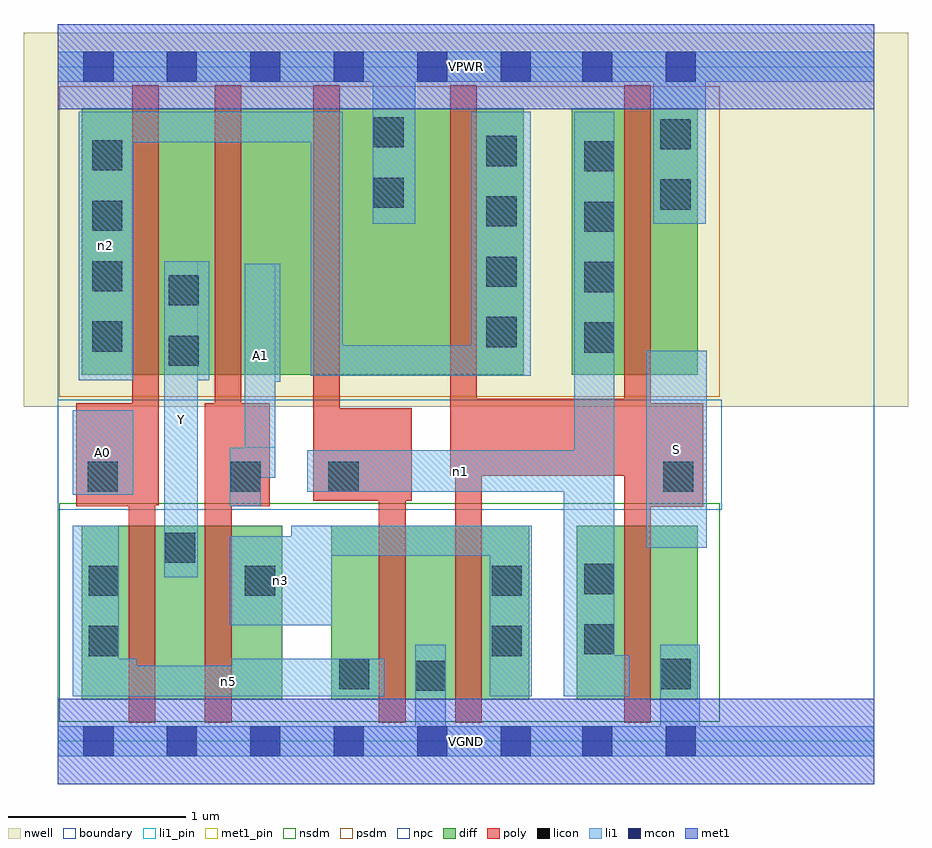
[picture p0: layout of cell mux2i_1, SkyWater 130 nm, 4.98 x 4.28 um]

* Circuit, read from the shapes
.subckt mux2i_1 A0 A1 S VGND VPWR Y n1 n2 n3 n5
XM1 Y A0 n5 VSUBS sky130_fd_pr__nfet_01v8 w=0.98 l=0.15
XM2 n3 A1 Y VSUBS sky130_fd_pr__nfet_01v8 w=0.98 l=0.15
XM3 VGND n1 n5 VSUBS sky130_fd_pr__nfet_01v8 w=0.98 l=0.15
XM4 n3 S VGND VSUBS sky130_fd_pr__nfet_01v8 w=0.98 l=0.15
XM5 VGND S n1 VSUBS sky130_fd_pr__nfet_01v8 w=0.98 l=0.15
XM6 Y A0 n2 n4 sky130_fd_pr__pfet_01v8 w=1.5 l=0.15
XM7 n6 A1 Y n4 sky130_fd_pr__pfet_01v8 w=1.5 l=0.15
XM8 VPWR n1 n6 n4 sky130_fd_pr__pfet_01v8 w=1.5 l=0.15
XM9 n2 S VPWR n4 sky130_fd_pr__pfet_01v8 w=1.5 l=0.15
XM10 VPWR S n1 n4 sky130_fd_pr__pfet_01v8 w=1.5 l=0.15
.ends

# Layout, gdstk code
import gdstk
lib = gdstk.Library(unit=1e-6, precision=1e-09)
def R(c, l, rs):  # rectangles x0, y0, x1, y1
    for r in rs: c.add(gdstk.rectangle(r[:2], r[2:], *l))
def A(c, l, x, y, w, h, nx, ny, dx, dy):  # array of equal rectangles
    R(c, l, [(x+i*dx, y+j*dy, x+i*dx+w, y+j*dy+h) for i in range(nx) for j in range(ny)])
nwell = (64, 20)
diff = (65, 20)
poly = (66, 20)
licon = (66, 44)
li1_pin = (67, 16)
li1 = (67, 20)
mcon = (67, 44)
met1_pin = (68, 16)
met1 = (68, 20)
nsdm = (93, 44)
psdm = (94, 20)
npc = (95, 20)
boundary = (235, 4)

mux2i_1 = lib.new_cell('mux2i_1')
R(mux2i_1, nwell, [(-0.19,1.885,4.79,3.99), (0,1.885,4.6,3.99)])
R(mux2i_1, diff, [(0.135,0.235,1.265,1.215), (1.54,0.235,2.655,1.215), (2.925,0.235,3.605,1.215), (0.135,2.065,2.625,3.565), (2.895,2.065,3.605,3.565)])
R(mux2i_1, poly, [(0.4,0.105,0.55,1.905), (0.83,0.105,0.98,1.905), (1.81,0.105,1.96,1.875), (2.24,0.105,2.39,1.93), (3.19,0.105,3.34,3.695), (3.19,1.32,3.635,1.905), (0.105,1.325,0.55,1.905), (0.83,1.325,1.195,1.905), (0.885,1.325,1.035,3.695), (0.42,1.33,0.57,3.695), (1.44,1.355,1.59,3.695), (1.44,1.355,1.995,1.875), (2.21,1.495,2.36,3.695), (2.21,1.495,3.34,1.93)])
A(mux2i_1, licon, 2.965, 2.19, 0.17, 0.17, 1, 4, 0, 0.34)
A(mux2i_1, licon, 0.195, 2.195, 0.17, 0.17, 1, 4, 0, 0.34)
A(mux2i_1, licon, 2.415, 2.22, 0.17, 0.17, 1, 4, 0, 0.34)
R(mux2i_1, licon, [(2.015,0.285,2.185,0.455), (1.585,0.295,1.755,0.465), (3.395,0.295,3.565,0.465), (0.175,0.48,0.345,0.65), (2.445,0.48,2.615,0.65), (2.965,0.49,3.135,0.66), (0.175,0.82,0.345,0.99), (1.055,0.82,1.225,0.99), (2.445,0.82,2.615,0.99), (2.965,0.83,3.135,1), (0.605,1.005,0.775,1.175), (0.17,1.405,0.34,1.575), (0.975,1.405,1.145,1.575), (1.525,1.405,1.695,1.575), (3.41,1.405,3.58,1.575), (0.625,2.115,0.795,2.285), (0.625,2.455,0.795,2.625), (3.395,2.995,3.565,3.165), (1.78,3.005,1.95,3.175), (3.395,3.335,3.565,3.505), (1.78,3.345,1.95,3.515)])
R(mux2i_1, li1_pin, [(0.6,0.925,0.79,2.705), (3.315,1.09,3.655,2.2), (0.085,1.39,0.425,1.865), (1.055,1.655,1.225,2.69)])
R(mux2i_1, li1, [(0,-0.085,4.6,0.085), (2.015,-0.085,2.185,0.545), (3.395,-0.085,3.615,0.545), (0.085,0.255,1.84,0.425), (0.085,0.255,0.345,1.215), (0.085,0.255,0.445,0.465), (0.98,0.255,1.84,0.465), (2.435,0.255,2.67,1.215), (2.85,0.255,3.135,1.64), (2.85,0.255,3.22,0.485), (2.91,0.255,3.135,3.545), (0.97,0.655,1.545,1.155), (0.6,0.925,0.79,2.705), (1.315,1.045,2.435,1.215), (3.315,1.09,3.655,2.2), (0.97,1.325,1.145,1.655), (0.085,1.39,0.425,1.865), (1.405,1.405,3.135,1.64), (1.145,1.485,1.225,2.69), (1.055,1.655,1.225,2.69), (1.055,2.025,1.255,2.69), (0.12,2.035,0.425,3.545), (0.6,2.035,0.855,2.705), (1.425,2.06,2.665,2.23), (1.425,2.06,1.605,3.545), (2.33,2.06,2.665,3.545), (1.775,2.915,2.015,3.885), (3.355,2.915,3.65,3.885), (0.12,3.375,1.605,3.545), (0,3.715,4.6,3.885)])
A(mux2i_1, mcon, 0.145, -0.085, 0.17, 0.17, 6, 2, 0.47, 3.8)
R(mux2i_1, mcon, [(2.955,-0.085,3.125,0.085), (3.425,-0.085,3.595,0.085), (2.955,3.715,3.125,3.885), (3.425,3.715,3.595,3.885)])
R(mux2i_1, met1_pin, [(0,-0.24,4.6,0.24), (0,3.56,4.6,4.04)])
R(mux2i_1, met1, [(0,-0.24,4.6,0.24), (0,3.56,4.6,4.04)])
R(mux2i_1, nsdm, [(0.01,0.11,3.73,1.34)])
R(mux2i_1, psdm, [(0.01,1.94,3.73,3.69)])
R(mux2i_1, npc, [(0,1.305,3.74,1.925)])
R(mux2i_1, boundary, [(0,0,4.6,3.8)])
mux2i_1.add(gdstk.Label('A0', (0.255,1.627), layer=67, texttype=5))
mux2i_1.add(gdstk.Label('A1', (1.14,2.172), layer=67, texttype=5))
mux2i_1.add(gdstk.Label('S', (3.485,1.645), layer=67, texttype=5))
mux2i_1.add(gdstk.Label('Y', (0.695,1.815), layer=67, texttype=5))
mux2i_1.add(gdstk.Label('n5', (0.962,0.34), layer=67, texttype=5))
mux2i_1.add(gdstk.Label('n3', (1.257,0.905), layer=67, texttype=5))
mux2i_1.add(gdstk.Label('n2', (0.272,2.79), layer=67, texttype=5))
mux2i_1.add(gdstk.Label('n1', (2.27,1.522), layer=67, texttype=5))
mux2i_1.add(gdstk.Label('VPWR', (2.3,3.8), layer=68, texttype=5))
mux2i_1.add(gdstk.Label('VGND', (2.3,0), layer=68, texttype=5))
mux2i_1.add(gdstk.Label('A0', (0.255,1.627), layer=67, texttype=16))
mux2i_1.add(gdstk.Label('A1', (1.14,2.172), layer=67, texttype=16))
mux2i_1.add(gdstk.Label('S', (3.485,1.645), layer=67, texttype=16))
mux2i_1.add(gdstk.Label('Y', (0.695,1.815), layer=67, texttype=16))
mux2i_1.add(gdstk.Label('VPWR', (2.3,3.8), layer=68, texttype=16))
mux2i_1.add(gdstk.Label('VGND', (2.3,0), layer=68, texttype=16))

lib.write_gds('mux2i_1.gds')
